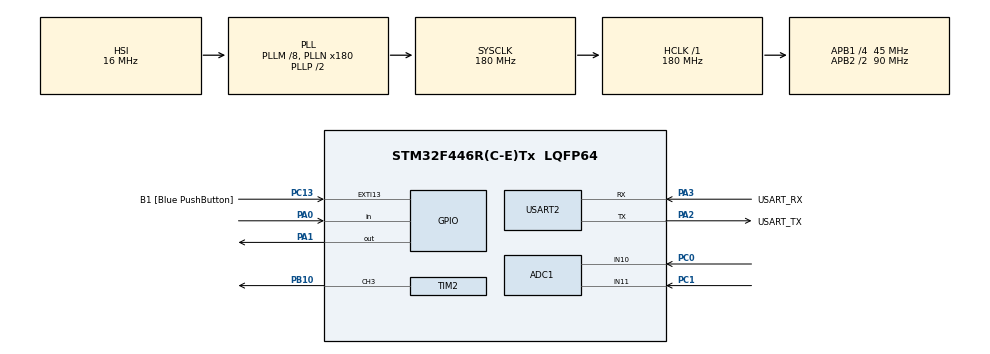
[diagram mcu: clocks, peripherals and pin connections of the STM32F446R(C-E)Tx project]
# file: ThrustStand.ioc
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ADC1.Channel-1\#ChannelRegularConversion=ADC_CHANNEL_10
ADC1.NbrOfConversionFlag=1
ADC1.Rank-1\#ChannelRegularConversion=1
ADC1.SamplingTime-1\#ChannelRegularConversion=ADC_SAMPLETIME_3CYCLES
ADC1.master=1
Mcu.Family=STM32F4
Mcu.Name=STM32F446R(C-E)Tx
Mcu.Package=LQFP64
NVIC.PriorityGroup=NVIC_PRIORITYGROUP_0
PA0-WKUP.Signal=GPIO_Input
PA1.Signal=GPIO_Output
PA13.GPIO_Label=TMS
PA13.Mode=Serial_Wire
PA13.Signal=SYS_JTMS-SWDIO
PA14.GPIO_Label=TCK
PA14.Mode=Serial_Wire
PA14.Signal=SYS_JTCK-SWCLK
PA2.GPIO_Label=USART_TX
PA2.Mode=Asynchronous
PA2.Signal=USART2_TX
PA3.GPIO_Label=USART_RX
PA3.Mode=Asynchronous
PA3.Signal=USART2_RX
PB10.Signal=S_TIM2_CH3
PB3.GPIO_Label=SWO
PB3.Signal=SYS_JTDO-SWO
PC0.Signal=ADCx_IN10
PC1.Signal=ADCx_IN11
PC13.GPIO_Label=B1 [Blue PushButton]
PC13.GPIO_ModeDefaultEXTI=GPIO_MODE_IT_FALLING
PC13.Signal=GPXTI13
PC14-OSC32_IN.Mode=LSE-External-Oscillator
PC14-OSC32_IN.Signal=RCC_OSC32_IN
PC15-OSC32_OUT.Mode=LSE-External-Oscillator
PC15-OSC32_OUT.Signal=RCC_OSC32_OUT
PH0-OSC_IN.Mode=HSE-External-Oscillator
PH0-OSC_IN.Signal=RCC_OSC_IN
PH1-OSC_OUT.Mode=HSE-External-Oscillator
PH1-OSC_OUT.Signal=RCC_OSC_OUT
ProjectManager.HeapSize=0x200
ProjectManager.StackSize=0x400
ProjectManager.TargetToolchain=STM32CubeIDE
RCC.48MHZClocksFreq_Value=84000000
RCC.AHBFreq_Value=180000000
RCC.APB1CLKDivider=RCC_HCLK_DIV4
RCC.APB1Freq_Value=45000000
RCC.APB1TimFreq_Value=90000000
RCC.APB2CLKDivider=RCC_HCLK_DIV2
RCC.APB2Freq_Value=90000000
RCC.APB2TimFreq_Value=180000000
RCC.CortexFreq_Value=180000000
RCC.FLatency-AdvancedSettings=FLASH_LATENCY_5
RCC.HCLKFreq_Value=180000000
RCC.HSE_VALUE=8000000
RCC.HSI_VALUE=16000000
RCC.PLLM=8
RCC.PLLN=180
RCC.SYSCLKFreq_VALUE=180000000
RCC.SYSCLKSource=RCC_SYSCLKSOURCE_PLLCLK
RCC.USBFreq_Value=180000000
RCC.VCOOutputFreq_Value=360000000
SH.ADCx_IN10.0=ADC1_IN10,IN10
SH.ADCx_IN11.0=ADC1_IN11,IN11
SH.S_TIM2_CH3.0=TIM2_CH3,PWM Generation3 CH3
TIM2.AutoReloadPreload=TIM_AUTORELOAD_PRELOAD_ENABLE
TIM2.Channel-PWM\ Generation3\ CH3=TIM_CHANNEL_3
TIM2.Period=19999
TIM2.Prescaler=179
TIM2.Pulse-PWM\ Generation3\ CH3=1000
USART2.VirtualMode=VM_ASYNC
board=NUCLEO-F446RE

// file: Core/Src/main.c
/* USER CODE BEGIN Header */
/**
  ******************************************************************************
  * @file           : main.c
  * @brief          : Main program body
  ******************************************************************************
  * @attention
  *
  * Copyright (c) 2026 STMicroelectronics.
  * All rights reserved.
  *
  * This software is licensed under terms that can be found in the LICENSE file
  * in the root directory of this software component.
  * If no LICENSE file comes with this software, it is provided AS-IS.
  *
  ******************************************************************************
  */
/* USER CODE END Header */
#include "main.h"

/* USER CODE BEGIN Includes */
#include <string.h>
#include <stdio.h>
#include <stdbool.h>
/* USER CODE END Includes */

/* USER CODE BEGIN PD */
#define HX711_DT_PIN    GPIO_PIN_0
#define HX711_SCK_PIN   GPIO_PIN_1
#define HX711_PORT      GPIOA
#define HX711_SAMPLES   10
/* USER CODE END PD */

ADC_HandleTypeDef hadc1;

TIM_HandleTypeDef htim2;

UART_HandleTypeDef huart2;

/* USER CODE BEGIN PV */
int32_t hx711_offset = 0;
float hx711_scale = 104.26f; //scale_factor = (raw_with - raw_without) / known weight
uint32_t adc_values[2] = {0};
float thrust_g = 0.0f;
float voltage = 0.0f;
float current_a = 0.0f;
int pulse_width = 1000;
uint32_t sweep_start = 0;
/* USER CODE END PV */

void SystemClock_Config(void);
static void MX_GPIO_Init(void);
static void MX_ADC1_Init(void);
static void MX_USART2_UART_Init(void);
static void MX_TIM2_Init(void);

/* USER CODE BEGIN 0 */
void delay_us(uint32_t us)
{
    uint32_t start = DWT->CYCCNT;
    uint32_t ticks = us * (HAL_RCC_GetHCLKFreq() / 1000000);
    while ((DWT->CYCCNT - start) < ticks);
}

bool hx711_is_ready(void)
{
    return HAL_GPIO_ReadPin(HX711_PORT, HX711_DT_PIN) == GPIO_PIN_RESET;
}

int32_t hx711_read(void)
{
	uint32_t timeout = HAL_GetTick() + 50;
	while (!hx711_is_ready()) {
	    if (HAL_GetTick() > timeout) return 0;
	}

    int32_t data = 0;

    for (int i = 0; i < 24; i++)
    {
        HAL_GPIO_WritePin(HX711_PORT, HX711_SCK_PIN, GPIO_PIN_SET);
        delay_us(1);
        data = (data << 1) | HAL_GPIO_ReadPin(HX711_PORT, HX711_DT_PIN);
        HAL_GPIO_WritePin(HX711_PORT, HX711_SCK_PIN, GPIO_PIN_RESET);
        delay_us(1);
    }

    // 25th pulse sets gain to 128
    HAL_GPIO_WritePin(HX711_PORT, HX711_SCK_PIN, GPIO_PIN_SET);
    delay_us(1);
    HAL_GPIO_WritePin(HX711_PORT, HX711_SCK_PIN, GPIO_PIN_RESET);
    delay_us(1);

    // Sign extend 24 bit to 32 bit
    if (data & 0x800000) data |= 0xFF000000;

    return data;
}

void hx711_tare(void)
{
    int32_t sum = 0;
    for (int i = 0; i < HX711_SAMPLES; i++)
    {
        // Wait up to 2 seconds during tare only
        uint32_t t = HAL_GetTick() + 2000;
        while (!hx711_is_ready()) {
            if (HAL_GetTick() > t) break;
        }
        sum += hx711_read();
        HAL_Delay(100);
    }
    hx711_offset = sum / HX711_SAMPLES;
}

float hx711_get_grams(void)
{
    int32_t raw = hx711_read();
    if (raw == 0) return thrust_g; // return last good value if timeout
    return (float)(raw - hx711_offset) / hx711_scale;
}
/* USER CODE END 0 */

int main(void)
{

  /* MCU Configuration--------------------------------------------------------*/

  /* Reset of all peripherals, Initializes the Flash interface and the Systick. */
  HAL_Init();

  /* Configure the system clock */
  SystemClock_Config();

  /* Initialize all configured peripherals */
  MX_GPIO_Init();
  MX_ADC1_Init();
  MX_USART2_UART_Init();
  MX_TIM2_Init();
  /* USER CODE BEGIN 2 */
  CoreDebug->DEMCR |= CoreDebug_DEMCR_TRCENA_Msk;
  DWT->CYCCNT = 0;
  DWT->CTRL |= DWT_CTRL_CYCCNTENA_Msk;

  HAL_TIM_PWM_Start(&htim2, TIM_CHANNEL_3);
  HAL_Delay(500);
  hx711_tare();
  HAL_Delay(2000); // allow ESC to arm at 1000us
  sweep_start = HAL_GetTick();

  char header[] = "time_ms,thrust_g,voltage_v,current_a\r\n";
  HAL_UART_Transmit(&huart2, (uint8_t*)header, strlen(header), 100);
  /* USER CODE END 2 */

  /* Infinite loop */
  while (1)
  {

    /* USER CODE BEGIN 3 */
	thrust_g = hx711_get_grams();
	if (thrust_g < 0) thrust_g = -thrust_g;
	static float last_good_thrust = 0.0f;
	if (thrust_g > 2000.0f) {
	    thrust_g = last_good_thrust;
	} else {
	    last_good_thrust = thrust_g;
	}

    ADC_ChannelConfTypeDef sConfig = {0};
    sConfig.Rank = 1;
    sConfig.SamplingTime = ADC_SAMPLETIME_84CYCLES;

    // Read voltage divider (A4 = PC1 = Channel 11)
    sConfig.Channel = ADC_CHANNEL_11;
    HAL_ADC_ConfigChannel(&hadc1, &sConfig);
    HAL_ADC_Start(&hadc1);
    HAL_ADC_PollForConversion(&hadc1, 100);
    adc_values[0] = HAL_ADC_GetValue(&hadc1);
    HAL_ADC_Stop(&hadc1);

    // Read ACS758 (A5 = PC0 = Channel 10)
    sConfig.Channel = ADC_CHANNEL_10;
    HAL_ADC_ConfigChannel(&hadc1, &sConfig);
    HAL_ADC_Start(&hadc1);
    HAL_ADC_PollForConversion(&hadc1, 100);
    adc_values[1] = HAL_ADC_GetValue(&hadc1);
    HAL_ADC_Stop(&hadc1);

    // Convert to real world values
    float pin_v0 = (adc_values[0] / 4095.0f) * 3.3f;
    float pin_v1 = (adc_values[1] / 4095.0f) * 3.3f;

    // Battery voltage (reverse divider math R1=10k R2=3k)
    voltage = pin_v0 * (13000.0f / 3000.0f);

    // Current from ACS758 50A (40mV/A, zero at 2.5V)
    // Moving average filter for current (8 samples)
    static float current_buf[8] = {0};
    static int current_idx = 0;
    float raw_current = (pin_v1 - 2.5f) / 0.04f;
    if (raw_current < 0) raw_current = 0;
    current_buf[current_idx] = raw_current;
    current_idx = (current_idx + 1) % 8;
    float current_sum = 0;
    for (int i = 0; i < 8; i++) current_sum += current_buf[i];
    current_a = current_sum / 8.0f;

    char buf[64];
    snprintf(buf, sizeof(buf), "%lu,%.1f,%.2f,%.2f\r\n",
        HAL_GetTick(),
        thrust_g,
        voltage,
        current_a);
    HAL_UART_Transmit(&huart2, (uint8_t*)buf, strlen(buf), 100);
    uint32_t elapsed = HAL_GetTick() - sweep_start;

    // 0-15s: ramp up
    if (elapsed < 15000) {
        pulse_width = 1000 + (int)((elapsed / 15000.0f) * 800);
        if (pulse_width > 1800) pulse_width = 1800;
    }
    // 15-17s: hold
    else if (elapsed < 17000) {
        pulse_width = 1800;
    }
    // 17-32s: ramp down
    else if (elapsed < 32000) {
        pulse_width = 1800 - (int)(((elapsed - 17000) / 15000.0f) * 800);
        if (pulse_width < 1000) pulse_width = 1000;
    }
    // done
    else {
        pulse_width = 1000;
        __HAL_TIM_SET_COMPARE(&htim2, TIM_CHANNEL_3, pulse_width);
        while(1) {
            HAL_Delay(100);
        }
    }

    __HAL_TIM_SET_COMPARE(&htim2, TIM_CHANNEL_3, pulse_width);
    HAL_Delay(15);
  }
  /* USER CODE END 3 */
}

void SystemClock_Config(void)
{
  RCC_OscInitTypeDef RCC_OscInitStruct = {0};
  RCC_ClkInitTypeDef RCC_ClkInitStruct = {0};

  /** Configure the main internal regulator output voltage
  */
  __HAL_RCC_PWR_CLK_ENABLE();
  __HAL_PWR_VOLTAGESCALING_CONFIG(PWR_REGULATOR_VOLTAGE_SCALE1);

  /** Initializes the RCC Oscillators according to the specified parameters
  * in the RCC_OscInitTypeDef structure.
  */
  RCC_OscInitStruct.OscillatorType = RCC_OSCILLATORTYPE_HSI;
  RCC_OscInitStruct.HSIState = RCC_HSI_ON;
  RCC_OscInitStruct.HSICalibrationValue = RCC_HSICALIBRATION_DEFAULT;
  RCC_OscInitStruct.PLL.PLLState = RCC_PLL_ON;
  RCC_OscInitStruct.PLL.PLLSource = RCC_PLLSOURCE_HSI;
  RCC_OscInitStruct.PLL.PLLM = 8;
  RCC_OscInitStruct.PLL.PLLN = 180;
  RCC_OscInitStruct.PLL.PLLP = RCC_PLLP_DIV2;
  RCC_OscInitStruct.PLL.PLLQ = 2;
  RCC_OscInitStruct.PLL.PLLR = 2;
  if (HAL_RCC_OscConfig(&RCC_OscInitStruct) != HAL_OK)
  {
    Error_Handler();
  }

  /** Activate the Over-Drive mode
  */
  if (HAL_PWREx_EnableOverDrive() != HAL_OK)
  {
    Error_Handler();
  }

  /** Initializes the CPU, AHB and APB buses clocks
  */
  RCC_ClkInitStruct.ClockType = RCC_CLOCKTYPE_HCLK|RCC_CLOCKTYPE_SYSCLK
                              |RCC_CLOCKTYPE_PCLK1|RCC_CLOCKTYPE_PCLK2;
  RCC_ClkInitStruct.SYSCLKSource = RCC_SYSCLKSOURCE_PLLCLK;
  RCC_ClkInitStruct.AHBCLKDivider = RCC_SYSCLK_DIV1;
  RCC_ClkInitStruct.APB1CLKDivider = RCC_HCLK_DIV4;
  RCC_ClkInitStruct.APB2CLKDivider = RCC_HCLK_DIV2;

  if (HAL_RCC_ClockConfig(&RCC_ClkInitStruct, FLASH_LATENCY_5) != HAL_OK)
  {
    Error_Handler();
  }
}

static void MX_ADC1_Init(void)
{

  ADC_ChannelConfTypeDef sConfig = {0};

  /** Configure the global features of the ADC (Clock, Resolution, Data Alignment and number of conversion)
  */
  hadc1.Instance = ADC1;
  hadc1.Init.ClockPrescaler = ADC_CLOCK_SYNC_PCLK_DIV4;
  hadc1.Init.Resolution = ADC_RESOLUTION_12B;
  hadc1.Init.ScanConvMode = DISABLE;
  hadc1.Init.ContinuousConvMode = DISABLE;
  hadc1.Init.DiscontinuousConvMode = DISABLE;
  hadc1.Init.ExternalTrigConvEdge = ADC_EXTERNALTRIGCONVEDGE_NONE;
  hadc1.Init.ExternalTrigConv = ADC_SOFTWARE_START;
  hadc1.Init.DataAlign = ADC_DATAALIGN_RIGHT;
  hadc1.Init.NbrOfConversion = 1;
  hadc1.Init.DMAContinuousRequests = DISABLE;
  hadc1.Init.EOCSelection = ADC_EOC_SINGLE_CONV;
  if (HAL_ADC_Init(&hadc1) != HAL_OK)
  {
    Error_Handler();
  }

  /** Configure for the selected ADC regular channel its corresponding rank in the sequencer and its sample time.
  */
  sConfig.Channel = ADC_CHANNEL_10;
  sConfig.Rank = 1;
  sConfig.SamplingTime = ADC_SAMPLETIME_3CYCLES;
  if (HAL_ADC_ConfigChannel(&hadc1, &sConfig) != HAL_OK)
  {
    Error_Handler();
  }

}

static void MX_TIM2_Init(void)
{

  TIM_MasterConfigTypeDef sMasterConfig = {0};
  TIM_OC_InitTypeDef sConfigOC = {0};

  htim2.Instance = TIM2;
  htim2.Init.Prescaler = 89;
  htim2.Init.CounterMode = TIM_COUNTERMODE_UP;
  htim2.Init.Period = 19999;
  htim2.Init.ClockDivision = TIM_CLOCKDIVISION_DIV1;
  htim2.Init.AutoReloadPreload = TIM_AUTORELOAD_PRELOAD_ENABLE;
  if (HAL_TIM_PWM_Init(&htim2) != HAL_OK)
  {
    Error_Handler();
  }
  sMasterConfig.MasterOutputTrigger = TIM_TRGO_RESET;
  sMasterConfig.MasterSlaveMode = TIM_MASTERSLAVEMODE_DISABLE;
  if (HAL_TIMEx_MasterConfigSynchronization(&htim2, &sMasterConfig) != HAL_OK)
  {
    Error_Handler();
  }
  sConfigOC.OCMode = TIM_OCMODE_PWM1;
  sConfigOC.Pulse = 1000;
  sConfigOC.OCPolarity = TIM_OCPOLARITY_HIGH;
  sConfigOC.OCFastMode = TIM_OCFAST_DISABLE;
  if (HAL_TIM_PWM_ConfigChannel(&htim2, &sConfigOC, TIM_CHANNEL_3) != HAL_OK)
  {
    Error_Handler();
  }
  HAL_TIM_MspPostInit(&htim2);

}

static void MX_USART2_UART_Init(void)
{

  huart2.Instance = USART2;
  huart2.Init.BaudRate = 115200;
  huart2.Init.WordLength = UART_WORDLENGTH_8B;
  huart2.Init.StopBits = UART_STOPBITS_1;
  huart2.Init.Parity = UART_PARITY_NONE;
  huart2.Init.Mode = UART_MODE_TX_RX;
  huart2.Init.HwFlowCtl = UART_HWCONTROL_NONE;
  huart2.Init.OverSampling = UART_OVERSAMPLING_16;
  if (HAL_UART_Init(&huart2) != HAL_OK)
  {
    Error_Handler();
  }

}

static void MX_GPIO_Init(void)
{
  GPIO_InitTypeDef GPIO_InitStruct = {0};

  /* GPIO Ports Clock Enable */
  __HAL_RCC_GPIOC_CLK_ENABLE();
  __HAL_RCC_GPIOH_CLK_ENABLE();
  __HAL_RCC_GPIOA_CLK_ENABLE();
  __HAL_RCC_GPIOB_CLK_ENABLE();

  /*Configure GPIO pin Output Level */
  HAL_GPIO_WritePin(GPIOA, GPIO_PIN_1, GPIO_PIN_RESET);

  /*Configure GPIO pin : B1_Pin */
  GPIO_InitStruct.Pin = B1_Pin;
  GPIO_InitStruct.Mode = GPIO_MODE_IT_FALLING;
  GPIO_InitStruct.Pull = GPIO_NOPULL;
  HAL_GPIO_Init(B1_GPIO_Port, &GPIO_InitStruct);

  /*Configure GPIO pin : PA0 */
  GPIO_InitStruct.Pin = GPIO_PIN_0;
  GPIO_InitStruct.Mode = GPIO_MODE_INPUT;
  GPIO_InitStruct.Pull = GPIO_NOPULL;
  HAL_GPIO_Init(GPIOA, &GPIO_InitStruct);

  /*Configure GPIO pin : PA1 */
  GPIO_InitStruct.Pin = GPIO_PIN_1;
  GPIO_InitStruct.Mode = GPIO_MODE_OUTPUT_PP;
  GPIO_InitStruct.Pull = GPIO_NOPULL;
  GPIO_InitStruct.Speed = GPIO_SPEED_FREQ_LOW;
  HAL_GPIO_Init(GPIOA, &GPIO_InitStruct);

}

void Error_Handler(void)
{
  __disable_irq();
  while (1) {}
}
